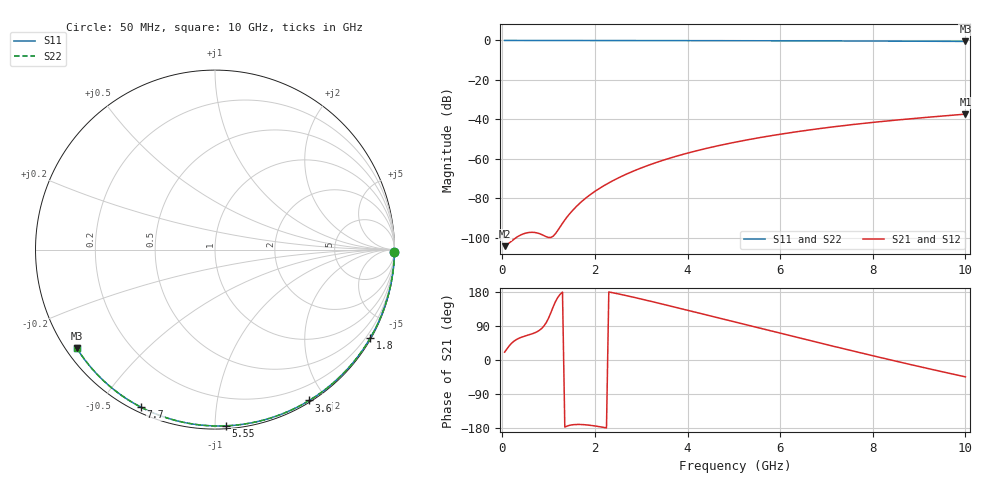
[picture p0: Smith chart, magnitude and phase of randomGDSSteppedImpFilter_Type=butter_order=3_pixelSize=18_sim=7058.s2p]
! freq	dB(S11)	phase(S11)	dB(S12)	phase(S12)
!  dB(S21)	phase(S21)	dB(S22)	phase(S22)
!S-par simulation data
#  GHz  S  DB  R 50
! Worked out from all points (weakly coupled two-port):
!   200 points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, 50 MHz to 10 GHz, reference 50 ohm
!   highest |S21| = -37.36 dB at 10 GHz (marker M1); lowest = -104.3 dB at 50 MHz (marker M2)
!   lowest |S11| = -0.5 dB at 10 GHz (marker M3), VSWR 35.74, Z = 1.54 - j15.9 ohm
!   |S11| at or under -10 dB: nowhere
!   |S22| runs from -0.5 to 0.0 dB; largest |S21 - S12| = 0
!   S11 on the Smith chart (normalised r, x): 50 MHz: open; 1.8 GHz: 0.03, -3.77; 3.6 GHz: 0.02, -1.80; 5.55 GHz: 0.02, -1.06; 7.7 GHz: 0.02, -0.63; 10 GHz: 0.03, -0.32
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0.05  -0.00 -0.8  -104.33 20.8  -104.33 20.8  -0.00 -0.8
0.45  -0.01 -7.6  -98.13 61.7  -98.13 61.7  -0.01 -7.5
0.9  -0.02 -15.0  -98.98 89.8  -98.98 89.8  -0.02 -15.0
1.3  -0.03 -21.6  -92.73 179.1  -92.73 179.1  -0.03 -21.6
1.75  -0.04 -28.9  -80.97 -170.6  -80.97 -170.6  -0.04 -28.9
1.8  -0.04 -29.7  -80.00 -171.0  -80.00 -171.0  -0.04 -29.7
1.95  -0.04 -32.2  -77.35 -173.1  -77.35 -173.1  -0.04 -32.2
2.1  -0.04 -34.6  -75.01 -175.9  -75.01 -175.9  -0.04 -34.6
2.3  -0.05 -37.8  -72.24 179.6  -72.24 179.6  -0.05 -37.8
2.5  -0.05 -40.9  -69.79 174.6  -69.79 174.6  -0.05 -40.9
2.9  -0.06 -47.2  -65.59 163.8  -65.59 163.8  -0.06 -47.2
3.4  -0.07 -55.0  -61.31 149.2  -61.31 149.2  -0.07 -54.9
3.6  -0.08 -58.0  -59.82 143.3  -59.82 143.3  -0.08 -58.0
4.3  -0.10 -68.5  -55.34 122.1  -55.34 122.1  -0.10 -68.5
5.05  -0.12 -79.4  -51.49 99.3  -51.49 99.3  -0.12 -79.3
5.55  -0.14 -86.4  -49.32 84.2  -49.32 84.2  -0.14 -86.4
6.1  -0.17 -94.0  -47.20 67.6  -47.20 67.6  -0.17 -94.0
6.7  -0.20 -102.1  -45.17 49.7  -45.17 49.7  -0.20 -102.1
7.7  -0.26 -115.2  -42.31 20.0  -42.31 20.0  -0.26 -115.2
8.35  -0.32 -123.6  -40.74 1.2  -40.74 1.2  -0.32 -123.6
9.2  -0.40 -134.4  -38.93 -22.8  -38.93 -22.8  -0.40 -134.4
10  -0.49 -144.6  -37.36 -44.5  -37.36 -44.5  -0.49 -144.6
